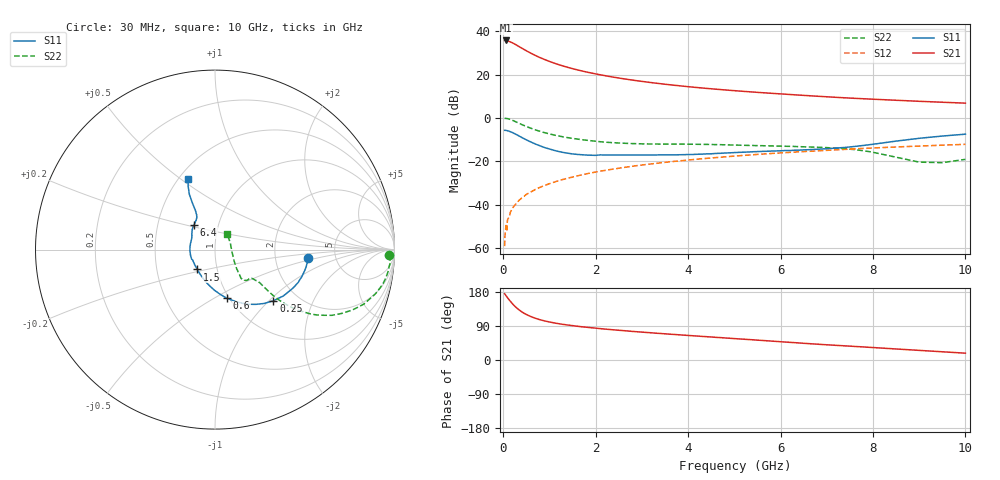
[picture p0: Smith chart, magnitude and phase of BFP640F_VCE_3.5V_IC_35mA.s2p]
! Infineon Technologies  Discrete & RF Semiconductors
! BFP640F
! VCE =  3.5 V,  IC =  35 mA
! Common Emitter S-Parameters:  Apr 2013
# GHz  S  MA  R  50
!  f  S11  S21  S12  S22
! GHz  MAG  ANG  MAG  ANG  MAG  ANG  MAG  ANG
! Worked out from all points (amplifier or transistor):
!   99 points, 30 MHz to 10 GHz, reference 50 ohm
!   highest |S21| = 35.8 dB at 50 MHz (marker M1)
!   |S21| within 3 dB of that: start of sweep to 357.3 MHz
!   unconditionally stable (mu >= 1): 1.707 GHz to end of sweep
!   at 350 MHz: K = 0.52, MSG = 35.4 dB, |S12| = -37.9 dB
!   at 3.5 GHz: K = 1.06, MAG = 16.6 dB, |S12| = -20.5 dB
!   at 10 GHz: K = 1.04, MAG = 8.3 dB, |S12| = -12.2 dB
!   S11 on the Smith chart (normalised r, x): 30 MHz: 3.11, -0.40; 250 MHz: 1.52, -1.06; 600 MHz: 0.97, -0.57; 1.5 GHz: 0.80, -0.18; 6.4 GHz: 0.76, +0.22; 10 GHz: 0.56, +0.53
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0.03  0.5201 -5.2  61.46 174.9  0.0011 98.3  0.9717 -1.8
0.05  0.518 -8.8  61.55 171.7  0.0026 93.0  0.9791 -4.3
0.11  0.5008 -19.7  59.39 161.6  0.0048 83.3  0.9551 -11.5
0.15  0.4842 -26.4  57.31 155.5  0.0065 81.4  0.9254 -15.6
0.2  0.4604 -34.1  54.14 148.4  0.0083 78.8  0.8834 -20.1
0.25  0.4323 -41.2  50.78 142.1  0.0097 75.9  0.8367 -23.7
0.3  0.4068 -47.5  47.34 136.5  0.0112 75.7  0.791 -26.7
0.4  0.3557 -58.8  41 127.2  0.0142 74.5  0.7064 -31.2
0.5  0.313 -68.0  35.61 120.1  0.0172 74.0  0.6371 -34.1
0.6  0.2787 -76.4  31.2 114.5  0.0197 73.3  0.5783 -36.0
0.7  0.2496 -83.7  27.6 109.9  0.0225 73.8  0.5306 -37.1
0.9  0.2071 -97.2  22.23 103.0  0.0278 73.2  0.4567 -38.2
1.2  0.1686 -115.3  17.03 95.8  0.0358 72.7  0.3842 -38.0
1.5  0.148 -131.5  13.76 90.7  0.0433 71.8  0.3378 -37.1
1.7  0.1417 -141.6  12.19 87.7  0.0486 71.1  0.3156 -36.6
2.4  0.1399 -167.8  8.705 79.5  0.0666 68.2  0.2683 -37.5
3.4  0.1409 166.9  6.184 70.0  0.092 63.5  0.2498 -40.9
5.1  0.1607 143.1  4.194 55.7  0.1342 54.6  0.2359 -46.2
6.4  0.1809 130.3  3.377 45.0  0.1656 47.2  0.218 -47.8
6.7  0.1875 126.2  3.225 42.5  0.1722 45.4  0.2127 -47.6
8.5  0.2926 115.8  2.564 29.1  0.2143 35.1  0.1243 -30.9
10  0.423 110.8  2.2 18.0  0.2466 26.4  0.111 52.3
